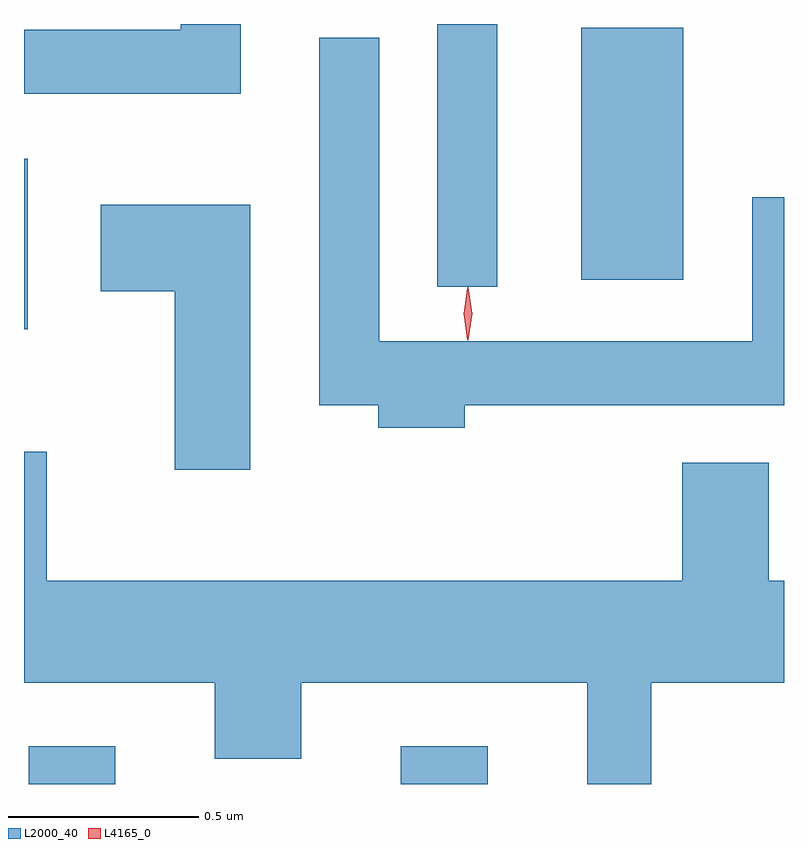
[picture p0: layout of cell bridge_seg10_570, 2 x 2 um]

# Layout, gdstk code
import gdstk
lib = gdstk.Library(unit=1e-6, precision=1e-09)
def R(c, l, rs):  # rectangles x0, y0, x1, y1
    for r in rs: c.add(gdstk.rectangle(r[:2], r[2:], *l))
def P(c, l, *ps):  # polygons
    for p in ps: c.add(gdstk.Polygon(p, *l))
L2000_40 = (2000, 40)
L4165_0 = (4165, 0)

bridge_seg10_570 = lib.new_cell('bridge_seg10_570')
R(bridge_seg10_570, L2000_40, [(778.051,2182.469,778.279,2182.569), (779.031,2182.469,779.259,2182.569), (778.039,2183.666,778.049,2184.114), (779.126,2183.778,779.284,2184.469), (779.506,2183.796,779.774,2184.459)])
P(bridge_seg10_570, L2000_40, [(778.609,2184.469),(778.451,2184.469),(778.451,2184.454),(778.039,2184.454),(778.039,2184.286),(778.609,2184.286)],
  [(779.199,2183.466),(780.039,2183.466),(780.039,2184.013),(779.956,2184.013),(779.956,2183.634),(778.974,2183.634),(778.974,2184.433),(778.816,2184.433),(778.816,2183.466),(778.971,2183.466),(778.971,2183.406),(779.199,2183.406)],
  [(778.634,2183.994),(778.241,2183.994),(778.241,2183.766),(778.436,2183.766),(778.436,2183.296),(778.634,2183.296)],
  [(779.689,2182.736),(780.039,2182.736),(780.039,2183.004),(779.999,2183.004),(779.999,2183.314),(779.771,2183.314),(779.771,2183.004),(778.099,2183.004),(778.099,2183.344),(778.039,2183.344),(778.039,2182.736),(778.541,2182.736),(778.541,2182.536),(778.769,2182.536),(778.769,2182.736),(779.521,2182.736),(779.521,2182.469),(779.689,2182.469)])
P(bridge_seg10_570, L4165_0, [(779.207,2183.637),(779.198,2183.707),(779.207,2183.776),(779.208,2183.776),(779.208,2183.776),(779.218,2183.707),(779.208,2183.637),(779.208,2183.637)],
  [(779.206,2183.64),(779.206,2183.64),(779.196,2183.706),(779.206,2183.772),(779.206,2183.773),(779.207,2183.772),(779.216,2183.706),(779.207,2183.64)])

lib.write_gds('bridge_seg10_570.gds')
